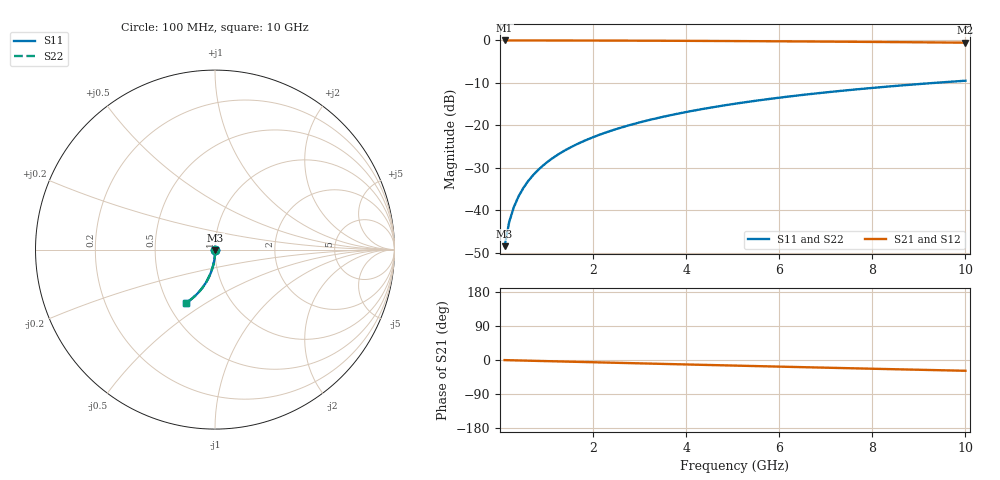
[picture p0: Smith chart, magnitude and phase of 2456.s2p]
# Hz S RI R 50.00
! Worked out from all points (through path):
!   100 points, 100 MHz to 10 GHz, reference 50 ohm
!   highest |S21| = -0.01 dB at 100 MHz (marker M1); lowest = -0.5 dB at 10 GHz (marker M2)
!   group delay of S21, straight-line fit = 7.92 ps
!   lowest |S11| = -48.5 dB at 100 MHz (marker M3), VSWR 1.01, Z = 50.1 - j0.365 ohm
!   |S11| at or under -10 dB: start of sweep to 9.343 GHz
!   |S22| runs from -48.5 to -9.5 dB; largest |S21 - S12| = 0
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1e8  0.001 -0.00364  0.9989 -0.00515  0.9989 -0.00515  0.001 -0.00364
2e8  0.00095 -0.00728  0.9989 -0.0103  0.9989 -0.0103  0.00095 -0.00728
3e8  0.000857 -0.0109  0.9988 -0.0155  0.9988 -0.0155  0.000857 -0.0109
4e8  0.000725 -0.0146  0.9986 -0.0206  0.9986 -0.0206  0.000725 -0.0146
5e8  0.000556 -0.0182  0.9984 -0.0258  0.9984 -0.0258  0.000556 -0.0182
6e8  0.000349 -0.0218  0.9982 -0.0309  0.9982 -0.0309  0.000349 -0.0218
7e8  0.000104 -0.0255  0.9979 -0.036  0.9979 -0.036  0.000104 -0.0255
8e8  -0.000178 -0.0291  0.9976 -0.0412  0.9976 -0.0412  -0.000178 -0.0291
9e8  -0.000498 -0.0327  0.9973 -0.0463  0.9973 -0.0463  -0.000498 -0.0327
1.1e9  -0.00125 -0.0399  0.9965 -0.0566  0.9965 -0.0566  -0.00125 -0.0399
1.4e9  -0.00265 -0.0507  0.995 -0.0719  0.995 -0.0719  -0.00265 -0.0507
1.8e9  -0.00504 -0.065  0.9924 -0.0923  0.9924 -0.0923  -0.00504 -0.065
2.1e9  -0.00722 -0.0757  0.9901 -0.1075  0.9901 -0.1075  -0.00722 -0.0757
2.5e9  -0.0106 -0.0898  0.9865 -0.1276  0.9865 -0.1276  -0.0106 -0.0898
2.9e9  -0.0146 -0.1036  0.9823 -0.1475  0.9823 -0.1475  -0.0146 -0.1036
3.4e9  -0.0203 -0.1207  0.9762 -0.1721  0.9762 -0.1721  -0.0203 -0.1207
4.2e9  -0.0312 -0.1471  0.9646 -0.2107  0.9646 -0.2107  -0.0312 -0.1471
5.1e9  -0.0458 -0.1754  0.949 -0.2527  0.949 -0.2527  -0.0458 -0.1754
5.9e9  -0.0607 -0.1992  0.933 -0.2887  0.933 -0.2887  -0.0607 -0.1992
6.7e9  -0.0772 -0.2214  0.9153 -0.3231  0.9153 -0.3231  -0.0772 -0.2214
8.4e9  -0.117 -0.2632  0.8724 -0.3909  0.8724 -0.3909  -0.117 -0.2632
1e10  -0.1588 -0.2952  0.8271 -0.4475  0.8271 -0.4475  -0.1588 -0.2952
